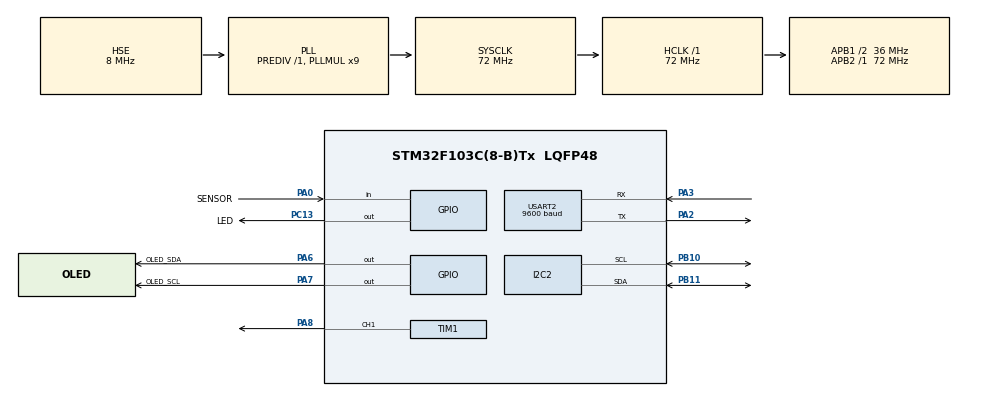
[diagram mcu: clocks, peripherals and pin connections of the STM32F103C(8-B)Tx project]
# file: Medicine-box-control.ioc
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Mcu.Family=STM32F1
Mcu.Name=STM32F103C(8-B)Tx
Mcu.Package=LQFP48
NVIC.PriorityGroup=NVIC_PRIORITYGROUP_4
NVIC.USART2_IRQn=true\:0\:0\:false\:false\:true\:true\:true\:true
PA0-WKUP.GPIO_Label=SENSOR
PA0-WKUP.Signal=GPIO_Input
PA13.Mode=Serial_Wire
PA13.Signal=SYS_JTMS-SWDIO
PA14.Mode=Serial_Wire
PA14.Signal=SYS_JTCK-SWCLK
PA2.Mode=Asynchronous
PA2.Signal=USART2_TX
PA3.Mode=Asynchronous
PA3.Signal=USART2_RX
PA6.GPIO_Label=OLED_SDA
PA6.GPIO_Speed=GPIO_SPEED_FREQ_HIGH
PA6.Signal=GPIO_Output
PA7.GPIO_Label=OLED_SCL
PA7.GPIO_Speed=GPIO_SPEED_FREQ_HIGH
PA7.Signal=GPIO_Output
PA8.Signal=S_TIM1_CH1
PB10.Mode=I2C
PB10.Signal=I2C2_SCL
PB11.Mode=I2C
PB11.Signal=I2C2_SDA
PC13-TAMPER-RTC.GPIO_Label=LED
PC13-TAMPER-RTC.PinState=GPIO_PIN_SET
PC13-TAMPER-RTC.Signal=GPIO_Output
PD0-OSC_IN.Mode=HSE-External-Oscillator
PD0-OSC_IN.Signal=RCC_OSC_IN
PD1-OSC_OUT.Mode=HSE-External-Oscillator
PD1-OSC_OUT.Signal=RCC_OSC_OUT
ProjectManager.HeapSize=0x200
ProjectManager.StackSize=0x400
ProjectManager.TargetToolchain=CMake
RCC.AHBFreq_Value=72000000
RCC.APB1CLKDivider=RCC_HCLK_DIV2
RCC.APB1Freq_Value=36000000
RCC.APB1TimFreq_Value=72000000
RCC.APB2Freq_Value=72000000
RCC.APB2TimFreq_Value=72000000
RCC.HCLKFreq_Value=72000000
RCC.PLLMUL=RCC_PLL_MUL9
RCC.PLLSourceVirtual=RCC_PLLSOURCE_HSE
RCC.SYSCLKFreq_VALUE=72000000
RCC.SYSCLKSource=RCC_SYSCLKSOURCE_PLLCLK
RCC.USBFreq_Value=72000000
SH.S_TIM1_CH1.0=TIM1_CH1,PWM Generation1 CH1
TIM1.Channel-PWM\ Generation1\ CH1=TIM_CHANNEL_1
TIM1.Period=20000-1
TIM1.Prescaler=72-1
USART2.BaudRate=9600
USART2.VirtualMode=VM_ASYNC
VP_TIM1_VS_ClockSourceINT.Mode=Internal
board=custom

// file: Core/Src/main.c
/* USER CODE BEGIN Header */
/**
  ******************************************************************************
  * @file           : main.c
  * @brief          : Main program body
  ******************************************************************************
  * @attention
  *
  * Copyright (c) 2026 STMicroelectronics.
  * All rights reserved.
  *
  * This software is licensed under terms that can be found in the LICENSE file
  * in the root directory of this software component.
  * If no LICENSE file comes with this software, it is provided AS-IS.
  *
  ******************************************************************************
  */
/* USER CODE END Header */
#include "main.h"
#include "i2c.h"
#include "tim.h"
#include "usart.h"
#include "gpio.h"

/* USER CODE BEGIN Includes */
#include "LED.h"
#include "servo.h"
#include "OLED.h"
#include "sensor.h"
#include "protocol.h"
#include "myUsart.h"
#include "box_ctrl.h"
#include "string.h"
#include "pca9685.h"
/* USER CODE END Includes */

/* USER CODE BEGIN PD */
/*("                       _oo0oo_
  ("                      o8888888o
  ("                      88' . '88
  ("                      (| -_- |)
  ("                     0\\  =  /0
  ("                   ___/`---'\\___
  ("                 .' \\\\|     |// '.
  ("                / \\\\|||  :  |||// \\
  ("               / _||||| -:- |||||_ \\
  ("              |   | \\\\\\  -  /// |   |
  ("              | \\_|  ''\\---/''  |_/ |
  ("              \\ .-\\___  '-'  ___/-. /
  ("            ___'. .'  /--.--\\  `. .'___
  ("          .'' '< `.___\\_<|>_/___.' >'  ''.
  ("        | | ： `- \\`.;`\\ _ /`;.`/ - ` : | |
  ("        \\  \\ `_.   \\_ __\\ /__ _/   .-` /  /
  ("    =====`-.____`.___ \\_____/___.-`___.-`=====
  ("                      `=---='
  ("    ~~~~~~~~~~~~~~~~~~~~~~~~~~~~~~~~~~~~~~~~~~
  ("	             菩提本无树  明镜亦非台
  ("               本来无BUG  何必常修改
*/
/* USER CODE END PD */

/* USER CODE BEGIN PM */

//此处存放一系列状态机
//药箱状态

/* USER CODE END PM */

void SystemClock_Config(void);

int main(void)
{

  /* MCU Configuration--------------------------------------------------------*/

  /* Reset of all peripherals, Initializes the Flash interface and the Systick. */
  HAL_Init();

  /* Configure the system clock */
  SystemClock_Config();

  /* Initialize all configured peripherals */
  MX_GPIO_Init();
  MX_TIM1_Init();
  MX_USART2_UART_Init();
  MX_I2C2_Init();
  /* USER CODE BEGIN 2 */
  OLED_Init();
  Servo_Init();
  Bluetooth_Init();//打开蓝牙串口中断
  BoxCtrl_Init();
  Bluetooth_SendString("Bluetooth Ready!\r\n");

  PCA9685_Init(&hi2c2, 50);   // 舵机用 50Hz

  /* USER CODE END 2 */

  /* Infinite loop */
  while (1)
  {

    /* USER CODE BEGIN 3 */
    if (cmd_ready)
    {

      Protocol_Parse(rx_buf);
      memset(rx_buf, 0, RX_BUF_SIZE);   // ★ 清空缓冲
      cmd_ready = 0;
    }

    Box_Process();

  }
  /* USER CODE END 3 */
}

void SystemClock_Config(void)
{
  RCC_OscInitTypeDef RCC_OscInitStruct = {0};
  RCC_ClkInitTypeDef RCC_ClkInitStruct = {0};

  /** Initializes the RCC Oscillators according to the specified parameters
  * in the RCC_OscInitTypeDef structure.
  */
  RCC_OscInitStruct.OscillatorType = RCC_OSCILLATORTYPE_HSE;
  RCC_OscInitStruct.HSEState = RCC_HSE_ON;
  RCC_OscInitStruct.HSEPredivValue = RCC_HSE_PREDIV_DIV1;
  RCC_OscInitStruct.HSIState = RCC_HSI_ON;
  RCC_OscInitStruct.PLL.PLLState = RCC_PLL_ON;
  RCC_OscInitStruct.PLL.PLLSource = RCC_PLLSOURCE_HSE;
  RCC_OscInitStruct.PLL.PLLMUL = RCC_PLL_MUL9;
  if (HAL_RCC_OscConfig(&RCC_OscInitStruct) != HAL_OK)
  {
    Error_Handler();
  }

  /** Initializes the CPU, AHB and APB buses clocks
  */
  RCC_ClkInitStruct.ClockType = RCC_CLOCKTYPE_HCLK|RCC_CLOCKTYPE_SYSCLK
                              |RCC_CLOCKTYPE_PCLK1|RCC_CLOCKTYPE_PCLK2;
  RCC_ClkInitStruct.SYSCLKSource = RCC_SYSCLKSOURCE_PLLCLK;
  RCC_ClkInitStruct.AHBCLKDivider = RCC_SYSCLK_DIV1;
  RCC_ClkInitStruct.APB1CLKDivider = RCC_HCLK_DIV2;
  RCC_ClkInitStruct.APB2CLKDivider = RCC_HCLK_DIV1;

  if (HAL_RCC_ClockConfig(&RCC_ClkInitStruct, FLASH_LATENCY_2) != HAL_OK)
  {
    Error_Handler();
  }
}

void Error_Handler(void)
{
  __disable_irq();
  while (1)
  {
  }
}
